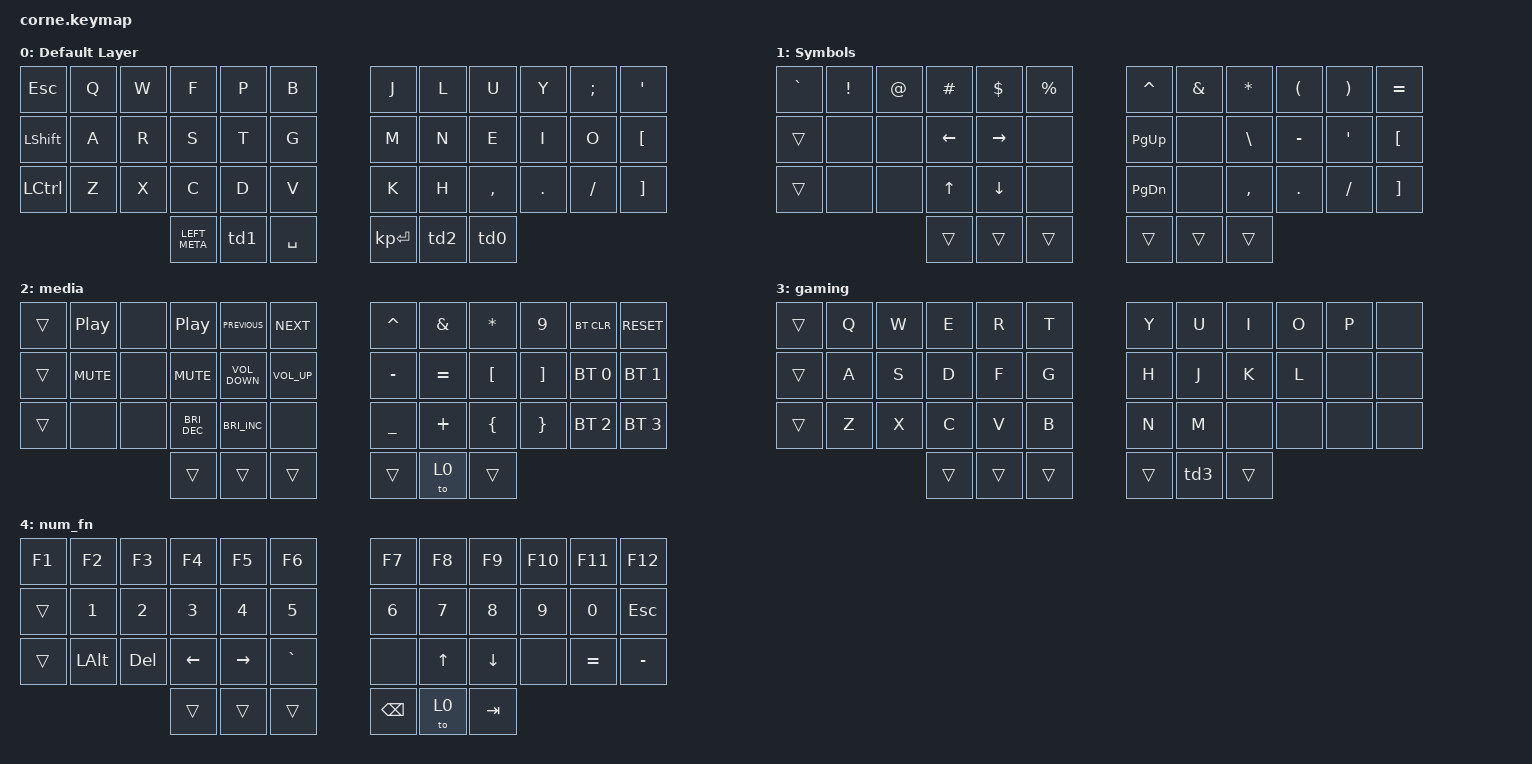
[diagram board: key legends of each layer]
/*
 * Copyright (c) 2020 The ZMK Contributors
 *
 * SPDX-License-Identifier: MIT
 */

#include <behaviors.dtsi>
#include <dt-bindings/zmk/bt.h>
#include <dt-bindings/zmk/keys.h>

/ {
    behaviors {
        td0: tap_dance_0 {
            compatible = "zmk,behavior-tap-dance";
            #binding-cells = <0>;
            tapping-term-ms = <200>;
            bindings = <&kp LG(D)>, <&to 2>;
        };

        td1: tap_dance_1 {
            compatible = "zmk,behavior-tap-dance";
            #binding-cells = <0>;
            tapping-term-ms = <200>;
            bindings = <&mo 4>, <&to 4>;
        };

        td2: tap_dance_2 {
            compatible = "zmk,behavior-tap-dance";
            #binding-cells = <0>;
            tapping-term-ms = <200>;
            bindings = <&mo 1>, <&to 3>;
        };

        td3: tap_dance_3 {
            compatible = "zmk,behavior-tap-dance";
            #binding-cells = <0>;
            tapping-term-ms = <200>;
            bindings = <&to 0>, <&to 1>;
        };
    };

    keymap {
        compatible = "zmk,keymap";

        default_layer {
            display-name = "Default Layer";

            // -----------------------------------------------------------------------------------------
            // |  TAB |  Q  |  W  |  E  |  R  |  T  |   |  Y  |  U   |  I  |  O  |  P  | BSPC |
            // | CTRL |  A  |  S  |  D  |  F  |  G  |   |  H  |  J   |  K  |  L  |  ;  |  '   |
            // | SHFT |  Z  |  X  |  C  |  V  |  B  |   |  N  |  M   |  ,  |  .  |  /  | ESC  |
            //                    | GUI | LWR | SPC |   | ENT | RSE  | ALT |

            bindings = <
&kp ESC           &kp Q  &kp W  &kp F          &kp P  &kp B        &kp J         &kp L  &kp U      &kp Y    &kp SEMICOLON  &kp SINGLE_QUOTE
&kp LEFT_SHIFT    &kp A  &kp R  &kp S          &kp T  &kp G        &kp M         &kp N  &kp E      &kp I    &kp O          &kp LEFT_BRACKET
&kp LEFT_CONTROL  &kp Z  &kp X  &kp C          &kp D  &kp V        &kp K         &kp H  &kp COMMA  &kp DOT  &kp FSLH       &kp RIGHT_BRACKET
                                &kp LEFT_META  &td1   &kp SPACE    &kp KP_ENTER  &td2   &td0
            >;
        };

        symbols {
            display-name = "Symbols";

            // -----------------------------------------------------------------------------------------
            // |  TAB |  1  |  2  |  3  |  4  |  5  |   |  6  |  7  |  8  |  9  |  0  | BSPC |
            // | BTCLR| BT1 | BT2 | BT3 | BT4 | BT5 |   | LFT | DWN |  UP | RGT |     |      |
            // | SHFT |     |     |     |     |     |   |     |     |     |     |     |      |
            //                    | GUI |     | SPC |   | ENT |     | ALT |

            bindings = <
&kp GRAVE  &kp EXCLAMATION  &kp AT_SIGN  &kp HASH        &kp DOLLAR       &kp PERCENT    &kp CARET      &kp AMPERSAND  &kp ASTERISK   &kp LEFT_PARENTHESIS  &kp RIGHT_PARENTHESIS  &kp EQUAL
&trans     &none            &none        &kp LEFT_ARROW  &kp RIGHT_ARROW  &none          &kp PAGE_UP    &none          &kp BACKSLASH  &kp MINUS             &kp SINGLE_QUOTE       &kp LEFT_BRACKET
&trans     &none            &none        &kp UP_ARROW    &kp DOWN_ARROW   &none          &kp PAGE_DOWN  &none          &kp COMMA      &kp PERIOD            &kp SLASH              &kp RIGHT_BRACKET
                                         &trans          &trans           &trans         &trans         &trans         &trans
            >;
        };

        media {
            display-name = "media";

            // -----------------------------------------------------------------------------------------
            // |  TAB |  !  |  @  |  #  |  $  |  %  |   |  ^  |  &  |  *  |  (  |  )  | BSPC |
            // | CTRL |     |     |     |     |     |   |  -  |  =  |  [  |  ]  |  \  |  `   |
            // | SHFT |     |     |     |     |     |   |  _  |  +  |  {  |  }  | "|" |  ~   |
            //                    | GUI |     | SPC |   | ENT |     | ALT |

            bindings = <
&trans  &kp C_PLAY_PAUSE  &none  &kp C_PLAY_PAUSE      &kp C_PREVIOUS        &kp C_NEXT         &kp CARET  &kp AMPS   &kp ASTRK  &kp NUMBER_9  &bt BT_CLR    &kp C_RESET
&trans  &kp C_MUTE        &none  &kp C_MUTE            &kp C_VOLUME_DOWN     &kp C_VOLUME_UP    &kp MINUS  &kp EQUAL  &kp LBKT   &kp RBKT      &bt BT_SEL 0  &bt BT_SEL 1
&trans  &none             &none  &kp C_BRIGHTNESS_DEC  &kp C_BRIGHTNESS_INC  &none              &kp UNDER  &kp PLUS   &kp LBRC   &kp RBRC      &bt BT_SEL 2  &bt BT_SEL 3
                                 &trans                &trans                &trans             &trans     &to 0      &trans
            >;
        };

        gaming {
            display-name = "gaming";
            bindings = <
&trans  &kp Q  &kp W  &kp E   &kp R   &kp T     &kp Y   &kp U  &kp I   &kp O  &kp P  &none
&trans  &kp A  &kp S  &kp D   &kp F   &kp G     &kp H   &kp J  &kp K   &kp L  &none  &none
&trans  &kp Z  &kp X  &kp C   &kp V   &kp B     &kp N   &kp M  &none   &none  &none  &none
                      &trans  &trans  &trans    &trans  &td3   &trans
            >;
        };

        num_fn {
            display-name = "num_fn";
            bindings = <
&kp F1  &kp F2        &kp F3        &kp F4          &kp F5           &kp F6       &kp F7         &kp F8        &kp F9          &kp F10  &kp F11    &kp F12
&trans  &kp NUMBER_1  &kp NUMBER_2  &kp NUMBER_3    &kp NUMBER_4     &kp N5       &kp NUMBER_6   &kp N7        &kp N8          &kp N9   &kp N0     &kp ESCAPE
&trans  &kp LEFT_ALT  &kp DELETE    &kp LEFT_ARROW  &kp RIGHT_ARROW  &kp GRAVE    &none          &kp UP_ARROW  &kp DOWN_ARROW  &none    &kp EQUAL  &kp MINUS
                                    &trans          &trans           &trans       &kp BACKSPACE  &to 0         &kp TAB
            >;
        };
    };
};
